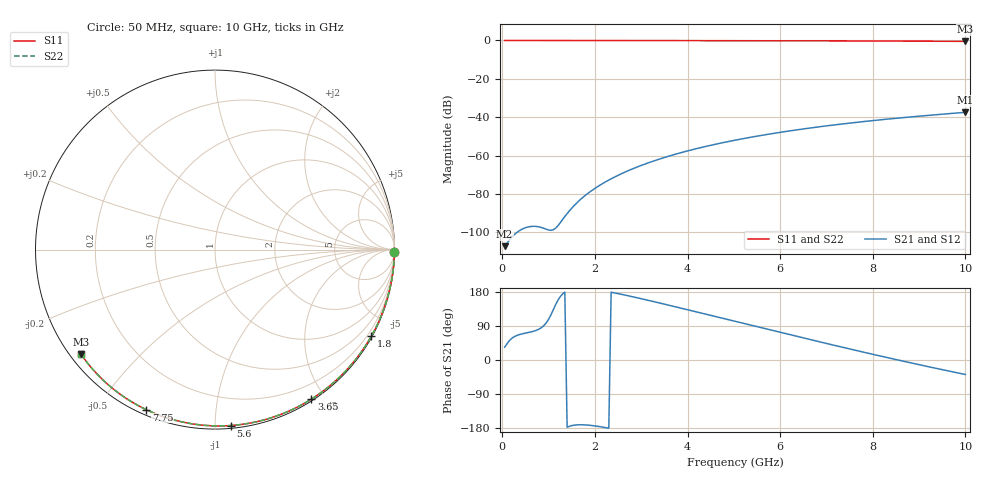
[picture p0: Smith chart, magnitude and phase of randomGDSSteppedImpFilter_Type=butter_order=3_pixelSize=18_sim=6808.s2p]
! freq	dB(S11)	phase(S11)	dB(S12)	phase(S12)
!  dB(S21)	phase(S21)	dB(S22)	phase(S22)
!S-par simulation data
#  GHz  S  DB  R 50
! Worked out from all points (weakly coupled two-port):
!   200 points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, 50 MHz to 10 GHz, reference 50 ohm
!   highest |S21| = -37.47 dB at 10 GHz (marker M1); lowest = -107.2 dB at 50 MHz (marker M2)
!   lowest |S11| = -0.5 dB at 10 GHz (marker M3), VSWR 36.79, Z = 1.52 - j17.1 ohm
!   |S11| at or under -10 dB: nowhere
!   |S22| runs from -0.5 to 0.0 dB; largest |S21 - S12| = 0
!   S11 on the Smith chart (normalised r, x): 50 MHz: open; 1.8 GHz: 0.03, -3.88; 3.65 GHz: 0.02, -1.83; 5.6 GHz: 0.02, -1.09; 7.75 GHz: 0.02, -0.66; 10 GHz: 0.03, -0.34
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0.05  -0.00 -0.8  -107.25 33.9  -107.25 33.9  -0.00 -0.8
0.45  -0.01 -7.3  -98.12 69.6  -98.12 69.6  -0.01 -7.4
0.9  -0.02 -14.6  -97.97 91.1  -97.97 91.1  -0.02 -14.6
1.75  -0.04 -28.1  -81.61 -171.1  -81.61 -171.1  -0.04 -28.1
1.8  -0.04 -28.9  -80.63 -171.4  -80.63 -171.4  -0.04 -28.9
1.85  -0.04 -29.7  -79.69 -171.9  -79.69 -171.9  -0.04 -29.7
2.05  -0.04 -32.8  -76.33 -174.8  -76.33 -174.8  -0.04 -32.8
2.25  -0.05 -35.9  -73.43 -178.9  -73.43 -178.9  -0.05 -35.9
2.55  -0.05 -40.6  -69.72 173.9  -69.72 173.9  -0.05 -40.6
2.95  -0.06 -46.7  -65.61 163.2  -65.61 163.2  -0.06 -46.7
3.4  -0.07 -53.5  -61.78 150.3  -61.78 150.3  -0.07 -53.5
3.65  -0.08 -57.2  -59.93 143.0  -59.93 143.0  -0.08 -57.2
4.3  -0.09 -66.7  -55.77 123.6  -55.77 123.6  -0.09 -66.7
5.05  -0.12 -77.3  -51.88 101.2  -51.88 101.2  -0.12 -77.3
5.6  -0.14 -84.9  -49.47 84.8  -49.47 84.8  -0.14 -84.9
6.15  -0.16 -92.3  -47.35 68.5  -47.35 68.5  -0.16 -92.4
6.7  -0.19 -99.6  -45.47 52.3  -45.47 52.3  -0.19 -99.7
7.2  -0.22 -106.2  -43.94 37.8  -43.94 37.8  -0.22 -106.2
7.75  -0.26 -113.2  -42.42 22.1  -42.42 22.1  -0.26 -113.2
8.35  -0.31 -120.9  -40.93 5.3  -40.93 5.3  -0.31 -120.9
9.15  -0.38 -131.1  -39.16 -16.3  -39.16 -16.3  -0.38 -131.1
10  -0.47 -142.2  -37.47 -38.3  -37.47 -38.3  -0.47 -142.2
